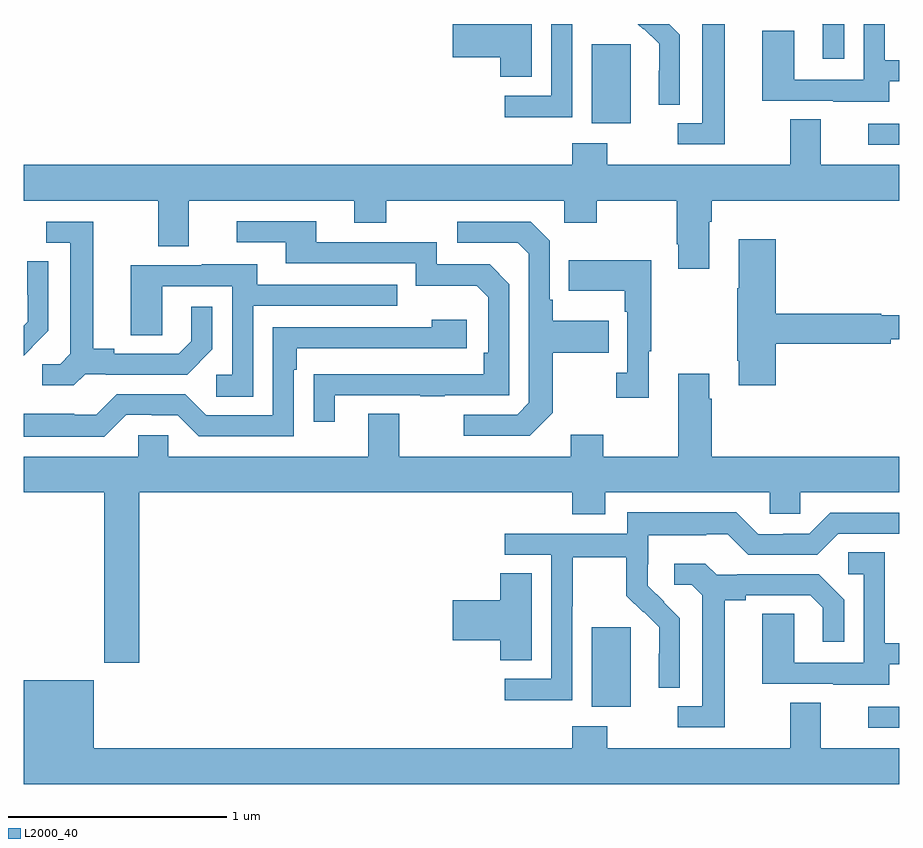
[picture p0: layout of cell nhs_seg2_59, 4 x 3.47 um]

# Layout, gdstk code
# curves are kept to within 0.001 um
import gdstk
lib = gdstk.Library(unit=1e-6, precision=1e-09)
def R(c, l, rs):  # rectangles x0, y0, x1, y1
    for r in rs: c.add(gdstk.rectangle(r[:2], r[2:], *l))
def P(c, l, *ps):  # polygons
    for p in ps: c.add(gdstk.Polygon(p, *l))
L2000_40 = (2000, 40)

nhs_seg2_59 = lib.new_cell('nhs_seg2_59')
R(nhs_seg2_59, L2000_40, [(116.859,622.584,117,622.68), (115.595,622.682,115.774,623.043), (116.859,625.248,117,625.344), (115.595,625.346,115.774,625.707)])
P(nhs_seg2_59, L2000_40, [(116.953,625.539),(117,625.539),(117,625.635),(116.934,625.635),(116.934,625.8),(116.838,625.8),(116.838,625.545),(116.52,625.545),(116.52,625.769),(116.375,625.769),(116.375,625.449),(116.699,625.449),(116.699,625.445),(116.953,625.445)],
  [(116.748,625.8),(116.648,625.8),(116.651,625.797),(116.651,625.641),(116.748,625.641)],
  [(116.203,625.8),(116.099,625.8),(116.099,625.347),(115.989,625.347),(115.989,625.251),(116.203,625.251)],
  [(115.321,625.8),(114.96,625.8),(114.96,625.649),(115.178,625.649),(115.178,625.558),(115.321,625.558)],
  [(115.506,625.8),(115.41,625.8),(115.41,625.473),(115.197,625.473),(115.197,625.375),(115.506,625.375)],
  [(115.998,625.75),(115.948,625.8),(115.806,625.8),(115.83,625.776),(115.833,625.779),(115.904,625.709),(115.904,625.586),(115.902,625.586),(115.902,625.432),(115.998,625.432)],
  [(116.131,624.896),(116.144,624.896),(116.144,624.992),(117,624.992),(117,625.156),(116.641,625.156),(116.641,625.364),(116.501,625.364),(116.501,625.156),(115.665,625.156),(115.665,625.255),(115.505,625.255),(115.505,625.156),(113,625.156),(113,624.992),(113.615,624.992),(113.615,624.784),(113.755,624.784),(113.755,624.992),(114.509,624.992),(114.509,624.893),(114.657,624.893),(114.657,624.992),(115.47,624.992),(115.47,624.893),(115.617,624.893),(115.617,624.992),(115.984,624.992),(115.984,624.793),(115.991,624.793),(115.991,624.681),(116.131,624.681)],
  [(114.421,624.105),(114.811,624.105),(114.811,624.1),(114.923,624.1),(114.923,624.105),(115.218,624.105),(115.218,624.612),(115.128,624.702),(114.888,624.702),(114.888,624.804),(114.337,624.804),(114.337,624.9),(113.973,624.9),(113.973,624.804),(114.197,624.804),(114.197,624.708),(114.792,624.708),(114.792,624.605),(115.069,624.605),(115.122,624.552),(115.122,624.298),(115.102,624.298),(115.102,624.201),(114.325,624.2),(114.325,623.982),(114.421,623.982)],
  [(113.28,624.201),(113.374,624.201),(113.374,624.198),(113.746,624.198),(113.862,624.314),(113.862,624.508),(113.765,624.508),(113.765,624.351),(113.708,624.294),(113.413,624.294),(113.413,624.317),(113.317,624.317),(113.317,624.897),(113.103,624.897),(113.103,624.801),(113.213,624.801),(113.213,624.293),(113.166,624.246),(113.085,624.246),(113.085,624.149),(113.228,624.149)],
  [(115.417,624.025),(115.417,624.298),(115.673,624.298),(115.673,624.445),(115.417,624.445),(115.417,624.541),(115.404,624.541),(115.404,624.81),(115.317,624.897),(114.981,624.897),(114.981,624.801),(115.257,624.801),(115.308,624.75),(115.308,624.069),(115.254,624.015),(115.011,624.015),(115.011,623.919),(115.311,623.919)],
  [(116.435,624.34),(116.96,624.34),(116.96,624.359),(117,624.359),(117,624.469),(116.918,624.469),(116.918,624.476),(116.435,624.476),(116.435,624.817),(116.267,624.817),(116.267,624.593),(116.26,624.593),(116.26,624.262),(116.267,624.262),(116.267,624.15),(116.435,624.15)],
  [(115.855,624.305),(115.867,624.305),(115.867,624.721),(115.489,624.721),(115.489,624.581),(115.746,624.581),(115.746,624.485),(115.758,624.485),(115.758,624.206),(115.707,624.206),(115.707,624.093),(115.855,624.093)],
  [(113.04,624.324),(113.039,624.325),(113.112,624.398),(113.112,624.716),(113.016,624.716),(113.016,624.562),(113.018,624.562),(113.018,624.44),(113,624.422),(113,624.284)],
  [(114.048,624.513),(114.707,624.513),(114.707,624.609),(114.067,624.609),(114.067,624.703),(113.813,624.703),(113.813,624.699),(113.489,624.699),(113.489,624.379),(113.634,624.379),(113.634,624.603),(113.952,624.603),(113.952,624.198),(113.88,624.198),(113.88,624.097),(114.048,624.097)],
  [(113.469,624.015),(113.585,624.015),(113.585,624.012),(113.703,624.012),(113.799,623.916),(114.234,623.916),(114.234,624.221),(114.247,624.221),(114.247,624.318),(115.024,624.318),(115.024,624.448),(114.863,624.448),(114.863,624.414),(114.138,624.414),(114.138,624.012),(113.835,624.012),(113.739,624.108),(113.424,624.108),(113.331,624.015),(113.231,624.015),(113.231,624.019),(113,624.019),(113,623.915),(113.369,623.915)],
  [(113.528,623.66),(115.505,623.66),(115.505,623.561),(115.657,623.561),(115.657,623.66),(116.409,623.66),(116.409,623.562),(116.547,623.562),(116.547,623.66),(117,623.66),(117,623.824),(116.144,623.824),(116.144,624.089),(116.131,624.089),(116.131,624.202),(115.991,624.202),(115.991,623.824),(115.647,623.824),(115.647,623.923),(115.499,623.923),(115.499,623.824),(114.715,623.824),(114.715,624.019),(114.575,624.019),(114.575,623.824),(113.661,623.824),(113.661,623.922),(113.523,623.922),(113.523,623.824),(113,623.824),(113,623.66),(113.368,623.66),(113.368,622.881),(113.528,622.881)],
  [(115.506,623.14),(115.509,623.14),(115.509,623.364),(115.753,623.364),(115.753,623.189),(115.83,623.112),(115.833,623.115),(115.904,623.045),(115.904,622.922),(115.902,622.922),(115.902,622.768),(115.998,622.768),(115.998,623.086),(115.852,623.234),(115.852,623.331),(115.854,623.331),(115.854,623.465),(116.117,623.465),(116.117,623.469),(116.217,623.469),(116.31,623.376),(116.625,623.376),(116.721,623.472),(117,623.472),(117,623.568),(116.685,623.568),(116.589,623.472),(116.471,623.472),(116.471,623.469),(116.355,623.469),(116.255,623.569),(115.758,623.569),(115.758,623.472),(115.197,623.472),(115.197,623.376),(115.41,623.376),(115.41,622.809),(115.197,622.809),(115.197,622.711),(115.506,622.711)],
  [(116.953,622.875),(117,622.875),(117,622.971),(116.934,622.971),(116.934,623.387),(116.766,623.387),(116.766,623.286),(116.838,623.286),(116.838,622.881),(116.52,622.881),(116.52,623.105),(116.375,623.105),(116.375,622.785),(116.699,622.785),(116.699,622.781),(116.953,622.781)],
  [(116.203,623.168),(116.299,623.168),(116.299,623.19),(116.594,623.19),(116.651,623.133),(116.651,622.977),(116.748,622.977),(116.748,623.17),(116.632,623.286),(116.26,623.286),(116.26,623.283),(116.166,623.283),(116.114,623.335),(115.971,623.335),(115.971,623.238),(116.052,623.238),(116.099,623.191),(116.099,622.683),(115.989,622.683),(115.989,622.587),(116.203,622.587)],
  [(115.321,623.291),(115.178,623.291),(115.178,623.168),(114.96,623.168),(114.96,622.985),(115.178,622.985),(115.178,622.894),(115.321,622.894)],
  [(117,622.492),(116.641,622.492),(116.641,622.7),(116.501,622.7),(116.501,622.492),(115.665,622.492),(115.665,622.591),(115.505,622.591),(115.505,622.492),(113.32,622.492),(113.32,622.801),(113,622.801),(113,622.328),(117,622.328)])

lib.write_gds('nhs_seg2_59.gds')
